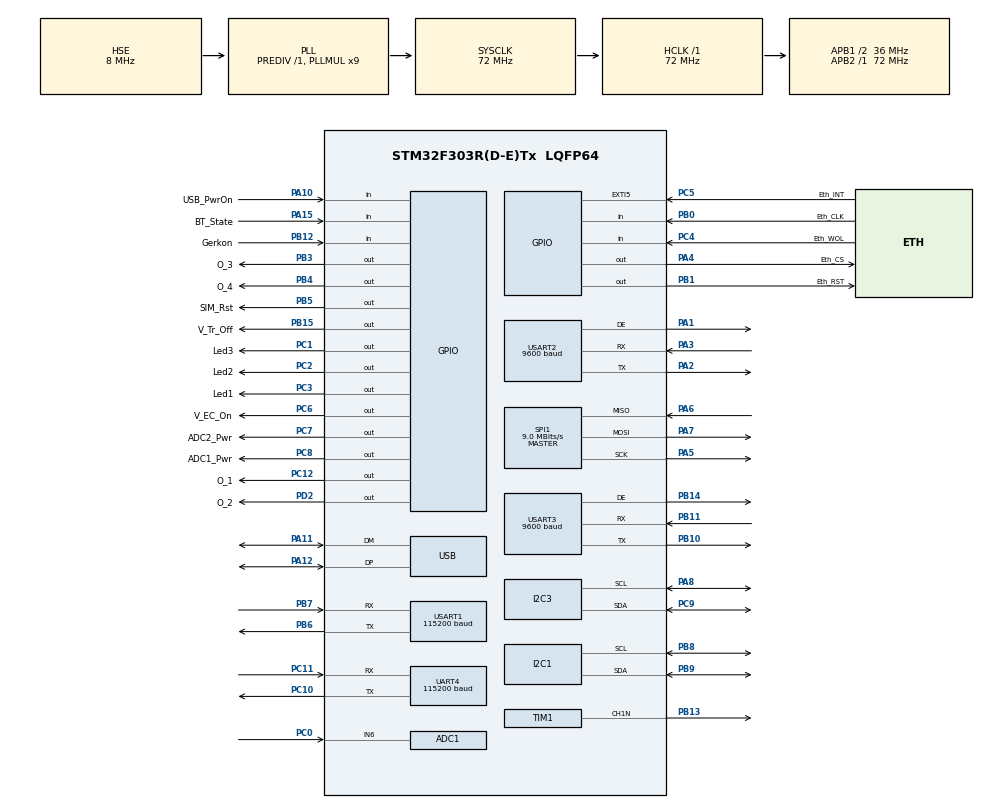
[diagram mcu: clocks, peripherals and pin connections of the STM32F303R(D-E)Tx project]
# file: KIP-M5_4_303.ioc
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ADC1.ContinuousConvMode=DISABLE
ADC1.EnableInjectedConversion=ENABLE
ADC1.EnableRegularConversion=DISABLE
ADC1.ExternalTrigInjecConv=ADC_INJECTED_SOFTWARE_START
ADC1.InjNumberOfConversion=2
ADC1.InjectedChannel-10\#ChannelInjectedConversion=ADC_CHANNEL_TEMPSENSOR
ADC1.InjectedChannel-9\#ChannelInjectedConversion=ADC_CHANNEL_6
ADC1.InjectedConvMode=None
ADC1.InjectedOffset-10\#ChannelInjectedConversion=0
ADC1.InjectedOffset-9\#ChannelInjectedConversion=0
ADC1.InjectedOffsetNumber-10\#ChannelInjectedConversion=ADC_OFFSET_NONE
ADC1.InjectedOffsetNumber-9\#ChannelInjectedConversion=ADC_OFFSET_NONE
ADC1.InjectedRank-10\#ChannelInjectedConversion=2
ADC1.InjectedRank-9\#ChannelInjectedConversion=1
ADC1.InjectedSamplingTime-10\#ChannelInjectedConversion=ADC_SAMPLETIME_19CYCLES_5
ADC1.InjectedSamplingTime-9\#ChannelInjectedConversion=ADC_SAMPLETIME_19CYCLES_5
ADC1.Overrun=ADC_OVR_DATA_OVERWRITTEN
ADC1.master=1
Dma.Request0=USART1_RX
Dma.Request1=USART1_TX
Dma.USART1_RX.0.Direction=DMA_PERIPH_TO_MEMORY
Dma.USART1_RX.0.Instance=DMA1_Channel5
Dma.USART1_RX.0.MemDataAlignment=DMA_MDATAALIGN_BYTE
Dma.USART1_RX.0.MemInc=DMA_MINC_ENABLE
Dma.USART1_RX.0.Mode=DMA_NORMAL
Dma.USART1_RX.0.PeriphDataAlignment=DMA_PDATAALIGN_BYTE
Dma.USART1_RX.0.PeriphInc=DMA_PINC_DISABLE
Dma.USART1_RX.0.Priority=DMA_PRIORITY_LOW
Dma.USART1_TX.1.Direction=DMA_MEMORY_TO_PERIPH
Dma.USART1_TX.1.Instance=DMA1_Channel4
Dma.USART1_TX.1.MemDataAlignment=DMA_MDATAALIGN_BYTE
Dma.USART1_TX.1.MemInc=DMA_MINC_ENABLE
Dma.USART1_TX.1.Mode=DMA_NORMAL
Dma.USART1_TX.1.PeriphDataAlignment=DMA_PDATAALIGN_BYTE
Dma.USART1_TX.1.PeriphInc=DMA_PINC_DISABLE
Dma.USART1_TX.1.Priority=DMA_PRIORITY_LOW
FREERTOS.HEAP_NUMBER=4
FREERTOS.INCLUDE_xQueueGetMutexHolder=1
FREERTOS.INCLUDE_xSemaphoreGetMutexHolder=1
FREERTOS.Mutexes01=rtos_mutex_FS,Dynamic,NULL
FREERTOS.Tasks01=Task_Def,0,1024,Start_Default,Default,NULL,Dynamic,NULL,NULL;Task_Led,-2,256,Start_Led,Default,NULL,Dynamic,NULL,NULL;Task_uIP,2,1024,Start_uIP,Default,NULL,Dynamic,NULL,NULL;Task_ADC,1,1024,Start_ADC,Default,NULL,Dynamic,NULL,NULL
FREERTOS.configGENERATE_RUN_TIME_STATS=1
FREERTOS.configMAX_CO_ROUTINE_PRIORITIES=7
FREERTOS.configMINIMAL_STACK_SIZE=256
FREERTOS.configQUEUE_REGISTRY_SIZE=16
FREERTOS.configRECORD_STACK_HIGH_ADDRESS=1
FREERTOS.configTOTAL_HEAP_SIZE=30000
FREERTOS.configUSE_CO_ROUTINES=1
FREERTOS.configUSE_RECURSIVE_MUTEXES=1
FREERTOS.configUSE_STATS_FORMATTING_FUNCTIONS=0
FREERTOS.configUSE_TIMERS=0
FREERTOS.configUSE_TRACE_FACILITY=0
I2C1.Timing=0x10808DD3
I2C3.Timing=0x10808DD3
IWDG.Prescaler=IWDG_PRESCALER_128
Mcu.Family=STM32F3
Mcu.Name=STM32F303R(D-E)Tx
Mcu.Package=LQFP64
NVIC.ADC1_2_IRQn=true\:13\:0\:true\:false\:true\:true\:true\:true
NVIC.DMA1_Channel4_IRQn=true\:5\:0\:false\:false\:true\:true\:false\:true
NVIC.DMA1_Channel5_IRQn=true\:5\:0\:false\:false\:true\:true\:false\:true
NVIC.EXTI9_5_IRQn=true\:12\:0\:true\:false\:true\:true\:true\:true
NVIC.PriorityGroup=NVIC_PRIORITYGROUP_4
NVIC.SPI1_IRQn=true\:10\:0\:true\:false\:true\:true\:true\:true
NVIC.TIM1_UP_TIM16_IRQn=true\:11\:0\:true\:false\:true\:true\:true\:true
NVIC.TIM2_IRQn=true\:8\:0\:true\:false\:true\:true\:true\:true
NVIC.TIM3_IRQn=true\:0\:0\:false\:false\:true\:false\:false\:true
NVIC.TIM4_IRQn=true\:9\:0\:true\:false\:true\:true\:true\:true
NVIC.TIM6_DAC_IRQn=true\:7\:0\:true\:false\:true\:true\:true\:true
NVIC.TimeBase=TIM3_IRQn
NVIC.TimeBaseIP=TIM3
NVIC.UART4_IRQn=true\:14\:0\:true\:false\:true\:true\:true\:true
NVIC.USART1_IRQn=true\:14\:0\:true\:false\:true\:true\:true\:true
NVIC.USART2_IRQn=true\:14\:0\:true\:false\:true\:true\:true\:true
NVIC.USART3_IRQn=true\:14\:0\:true\:false\:true\:true\:true\:true
NVIC.USB_HP_CAN_TX_IRQn=true\:5\:0\:false\:false\:true\:true\:true\:true
NVIC.USB_LP_CAN_RX0_IRQn=true\:5\:0\:false\:false\:true\:true\:false\:true
PA1.Mode=Hardware Flow Control (RS485)
PA1.Signal=USART2_DE
PA10.GPIO_Label=USB_PwrOn
PA10.Signal=GPIO_Input
PA11.Mode=Device
PA11.Signal=USB_DM
PA12.Mode=Device
PA12.Signal=USB_DP
PA13.Mode=Serial_Wire
PA13.Signal=SYS_JTMS-SWDIO
PA14.Mode=Serial_Wire
PA14.Signal=SYS_JTCK-SWCLK
PA15.GPIO_Label=BT_State
PA15.GPIO_PuPd=GPIO_PULLUP
PA15.Signal=GPIO_Input
PA2.Mode=Asynchronous
PA2.Signal=USART2_TX
PA3.Mode=Asynchronous
PA3.Signal=USART2_RX
PA4.GPIO_Label=Eth_CS
PA4.GPIO_ModeDefaultOutputPP=GPIO_MODE_OUTPUT_PP
PA4.GPIO_PuPd=GPIO_PULLUP
PA4.PinState=GPIO_PIN_SET
PA4.Signal=GPIO_Output
PA5.GPIO_PuPd=GPIO_PULLUP
PA5.Mode=Full_Duplex_Master
PA5.Signal=SPI1_SCK
PA6.GPIO_PuPd=GPIO_PULLUP
PA6.Mode=Full_Duplex_Master
PA6.Signal=SPI1_MISO
PA7.GPIO_PuPd=GPIO_PULLUP
PA7.Mode=Full_Duplex_Master
PA7.Signal=SPI1_MOSI
PA8.Mode=I2C
PA8.Signal=I2C3_SCL
PB0.GPIO_Label=Eth_CLK
PB0.Signal=GPIO_Input
PB1.GPIO_Label=Eth_RST
PB1.PinState=GPIO_PIN_SET
PB1.Signal=GPIO_Output
PB10.Mode=Asynchronous
PB10.Signal=USART3_TX
PB11.Mode=Asynchronous
PB11.Signal=USART3_RX
PB12.GPIO_Label=Gerkon
PB12.GPIO_PuPd=GPIO_PULLUP
PB12.Signal=GPIO_Input
PB13.Mode=PWM Generation1 CH1N
PB13.Signal=TIM1_CH1N
PB14.Mode=Hardware Flow Control (RS485)
PB14.Signal=USART3_DE
PB15.GPIO_Label=V_Tr_Off
PB15.PinState=GPIO_PIN_RESET
PB15.Signal=GPIO_Output
PB3.GPIO_Label=O_3
PB3.Signal=GPIO_Output
PB4.GPIO_Label=O_4
PB4.Signal=GPIO_Output
PB5.GPIO_Label=SIM_Rst
PB5.PinState=GPIO_PIN_SET
PB5.Signal=GPIO_Output
PB6.GPIO_ModeDefaultPP=GPIO_MODE_AF_PP
PB6.GPIO_PuPd=GPIO_NOPULL
PB6.GPIO_Speed=GPIO_SPEED_FREQ_LOW
PB6.Mode=Asynchronous
PB6.Signal=USART1_TX
PB7.GPIO_ModeDefaultPP=GPIO_MODE_AF_OD
PB7.GPIO_PuPd=GPIO_NOPULL
PB7.GPIO_Speed=GPIO_SPEED_FREQ_LOW
PB7.Mode=Asynchronous
PB7.Signal=USART1_RX
PB8.Mode=I2C
PB8.Signal=I2C1_SCL
PB9.Mode=I2C
PB9.Signal=I2C1_SDA
PC0.Signal=ADCx_IN6
PC1.GPIO_Label=Led3
PC1.PinState=GPIO_PIN_SET
PC1.Signal=GPIO_Output
PC10.Mode=Asynchronous
PC10.Signal=UART4_TX
PC11.Mode=Asynchronous
PC11.Signal=UART4_RX
PC12.GPIO_Label=O_1
PC12.Signal=GPIO_Output
PC2.GPIO_Label=Led2
PC2.PinState=GPIO_PIN_SET
PC2.Signal=GPIO_Output
PC3.GPIO_Label=Led1
PC3.PinState=GPIO_PIN_SET
PC3.Signal=GPIO_Output
PC4.GPIO_Label=Eth_WOL
PC4.GPIO_PuPd=GPIO_PULLUP
PC4.Signal=GPIO_Input
PC5.GPIO_Label=Eth_INT
PC5.GPIO_ModeDefaultEXTI=GPIO_MODE_IT_FALLING
PC5.GPIO_PuPd=GPIO_PULLUP
PC5.Signal=GPXTI5
PC6.GPIO_Label=V_EC_On
PC6.Signal=GPIO_Output
PC7.GPIO_Label=ADC2_Pwr
PC7.GPIO_PuPd=GPIO_PULLUP
PC7.PinState=GPIO_PIN_SET
PC7.Signal=GPIO_Output
PC8.GPIO_Label=ADC1_Pwr
PC8.GPIO_PuPd=GPIO_PULLUP
PC8.PinState=GPIO_PIN_SET
PC8.Signal=GPIO_Output
PC9.Mode=I2C
PC9.Signal=I2C3_SDA
PD2.GPIO_Label=O_2
PD2.Signal=GPIO_Output
PF0-OSC_IN.Mode=HSE-External-Oscillator
PF0-OSC_IN.Signal=RCC_OSC_IN
PF1-OSC_OUT.Mode=HSE-External-Oscillator
PF1-OSC_OUT.Signal=RCC_OSC_OUT
ProjectManager.HeapSize=0x800
ProjectManager.StackSize=0x2000
ProjectManager.TargetToolchain=SW4STM32
RCC.ADC12PRES=RCC_ADC12PLLCLK_DIV6
RCC.AHBFreq_Value=72000000
RCC.APB1CLKDivider=RCC_HCLK_DIV2
RCC.APB1Freq_Value=36000000
RCC.APB1TimFreq_Value=72000000
RCC.APB2Freq_Value=72000000
RCC.APB2TimFreq_Value=72000000
RCC.CortexFreq_Value=72000000
RCC.HCLKFreq_Value=72000000
RCC.HSE_VALUE=8000000
RCC.HSI_VALUE=8000000
RCC.I2c1ClockSelection=RCC_I2C1CLKSOURCE_SYSCLK
RCC.I2c3ClockSelection=RCC_I2C3CLKSOURCE_SYSCLK
RCC.LSE_VALUE=32768
RCC.PLLMUL=RCC_PLL_MUL9
RCC.PRESCALERUSB=RCC_USBCLKSOURCE_PLL_DIV1_5
RCC.SYSCLKFreq_VALUE=72000000
RCC.SYSCLKSourceVirtual=RCC_SYSCLKSOURCE_PLLCLK
RCC.USBFreq_Value=48000000
RCC.Uart4ClockSelection=RCC_UART4CLKSOURCE_SYSCLK
RCC.Usart2ClockSelection=RCC_USART2CLKSOURCE_SYSCLK
RCC.Usart3ClockSelection=RCC_USART3CLKSOURCE_SYSCLK
SH.ADCx_IN6.0=ADC1_IN6,IN6-Single-Ended
SPI1.BaudRatePrescaler=SPI_BAUDRATEPRESCALER_8
SPI1.CalculateBaudRate=9.0 MBits/s
SPI1.DataSize=SPI_DATASIZE_8BIT
SPI1.Direction=SPI_DIRECTION_2LINES
SPI1.Mode=SPI_MODE_MASTER
SPI1.NSSPMode=SPI_NSS_PULSE_ENABLE
SPI1.VirtualType=VM_MASTER
TIM1.Channel-PWM\ Generation1\ CH1N=TIM_CHANNEL_1
TIM2.AutoReloadPreload=TIM_AUTORELOAD_PRELOAD_ENABLE
TIM2.Period=5000
TIM2.Prescaler=7200
TIM2.TIM_MasterOutputTrigger=TIM_TRGO_UPDATE
TIM4.Period=1000
TIM4.Prescaler=72
TIM4.TIM_MasterOutputTrigger=TIM_TRGO_UPDATE
TIM6.Period=1562
TIM6.Prescaler=72-1
UART4.BaudRate=115200
USART1.BaudRate=115200
USART1.VirtualMode-Asynchronous=VM_ASYNC
USART2.BaudRate=9600
USART2.VirtualMode-Asynchronous=VM_ASYNC
USART2.VirtualMode-Hardware\ Flow\ Control\ (RS485)=VM_ASYNC
USART3.BaudRate=9600
USART3.VirtualMode-Asynchronous=VM_ASYNC
USART3.VirtualMode-Hardware\ Flow\ Control\ (RS485)=VM_ASYNC
USB.low_power_enable=DISABLE
USB.lpm_enable=DISABLE
USB_DEVICE.APP_RX_DATA_SIZE=512
USB_DEVICE.APP_TX_DATA_SIZE=512
USB_DEVICE.CLASS_NAME_FS=CDC
USB_DEVICE.USBD_DEBUG_LEVEL=0
USB_DEVICE.USBD_SELF_POWERED=1
USB_DEVICE.VirtualMode=Cdc
USB_DEVICE.VirtualModeFS=Cdc_FS
VP_ADC1_TempSens_Input.Mode=IN-TempSens
VP_CRC_VS_CRC.Mode=CRC_Activate
VP_FREERTOS_VS_CMSIS_V1.Mode=CMSIS_V1
VP_IWDG_VS_IWDG.Mode=IWDG_Activate
VP_RTC_VS_RTC_Activate.Mode=RTC_Enabled
VP_SYS_VS_tim3.Mode=TIM3
VP_TIM16_VS_ClockSourceINT.Mode=Enable_Timer
VP_TIM2_VS_ClockSourceINT.Mode=Internal
VP_TIM4_VS_ClockSourceINT.Mode=Internal
VP_TIM6_VS_ClockSourceINT.Mode=Enable_Timer
VP_USB_DEVICE_VS_USB_DEVICE_CDC_FS.Mode=CDC_FS
board=custom

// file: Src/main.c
/* USER CODE BEGIN Header */
/**
  ******************************************************************************
  * @file           : main.c
  * @brief          : Main program body
  ******************************************************************************
  * @attention
  *
  * <h2><center>&copy; Copyright (c) 2020 STMicroelectronics.
  * All rights reserved.</center></h2>
  *
  * This software component is licensed by ST under Ultimate Liberty license
  * SLA0044, the "License"; You may not use this file except in compliance with
  * the License. You may obtain a copy of the License at:
  *                             www.st.com/SLA0044
  *
  ******************************************************************************
  */
/* USER CODE END Header */

#include "main.h"
#include "cmsis_os.h"
#include "adc.h"
#include "crc.h"
#include "dma.h"
#include "i2c.h"
#include "iwdg.h"
#include "rtc.h"
#include "spi.h"
#include "tim.h"
#include "usart.h"
#include "usb_device.h"
#include "gpio.h"

/* USER CODE BEGIN Includes */

//#include "uip.h"
//#include "uip_arp.h"
//#include "enc28j60.h"

#include "ADS1115.h"

#include "config.h"
extern KIP_Data_TypeDef KIP_Data;

extern volatile	uint8_t delay_start;		// формирование паузы между замерами

static __IO uint32_t TimingDelay;

uint8_t	int_Eth = 0;

extern uint8_t delay_arp;

// Todo раскидать глобалки
//uint8_t pbuffer[32];
//uint8_t	count_i;

#include "Mercury.h"

extern void my_printf(UART_HandleTypeDef *huart_out, const char *fmt, ...);

extern void	Sim80x_RxCallBack(void);
//#include "Sim80x.h"

/* USER CODE END Includes */

void SystemClock_Config(void);
void MX_FREERTOS_Init(void);

int main(void)
{

  /* MCU Configuration--------------------------------------------------------*/

  /* Reset of all peripherals, Initializes the Flash interface and the Systick. */
  HAL_Init();

  /* Configure the system clock */
  SystemClock_Config();

  /* Initialize all configured peripherals */
  MX_GPIO_Init();
  MX_ADC1_Init();
  MX_I2C1_Init();
  MX_I2C3_Init();
  MX_SPI1_Init();
  MX_TIM1_Init();
  MX_TIM16_Init();
  MX_UART4_Init();
  MX_USART1_UART_Init();
  MX_USART2_UART_Init();
  MX_USART3_UART_Init();
  MX_TIM6_Init();
  MX_DMA_Init();
  MX_TIM2_Init();
  MX_CRC_Init();
  MX_RTC_Init();
  MX_TIM4_Init();
  MX_IWDG_Init();
  /* USER CODE BEGIN 2 */
  HAL_ADCEx_Calibration_Start(&hadc1, ADC_SINGLE_ENDED);

  HAL_GPIO_WritePin(Eth_RST_GPIO_Port, Eth_RST_Pin, GPIO_PIN_RESET);
  HAL_Delay(1);
  HAL_GPIO_WritePin(Eth_RST_GPIO_Port, Eth_RST_Pin, GPIO_PIN_SET);
  HAL_Delay(1);

  /* Формирование настроек КИП */
  KIP_Data.KIP_Setup.KIP_Version = 1;
  KIP_Data.KIP_Setup.KIP_Type = 2;
  KIP_Data.KIP_Setup.SKZ_Address_RS485 = 1;
  KIP_Data.KIP_Setup.KIP_Address_RS485 = 1;
  KIP_Data.KIP_Setup.Shunt_Val = 50;

	// установим адрес хоста (не используем dhcp) KIP_Data
	Ip_Addr_TypeDef Ip_Addr_1 =  ipaddr_device;		KIP_Data.KIP_Setup.ip_addr_KIP = Ip_Addr_1;
	Ip_Addr_TypeDef Ip_Addr_2 =  ipaddr_dest;		KIP_Data.KIP_Setup.ip_addr_dect = Ip_Addr_2;
	Ip_Addr_TypeDef Ip_Addr_3 =  ipaddr_mask;		KIP_Data.KIP_Setup.ip_addr_mask = Ip_Addr_3;

  KIP_Data.KIP_Setup.ip_port = 502;
//  KIP_Data.KIP_Setup.Modules_Config.Modules_Set = Set_modules;
	  KIP_Data.KIP_Setup.Modules_Config.Module_Set.m_ADC = 1;
	  KIP_Data.KIP_Setup.Modules_Config.Module_Set.m_Bluetooth = 1;
	  KIP_Data.KIP_Setup.Modules_Config.Module_Set.m_EEProm = 0;
	  KIP_Data.KIP_Setup.Modules_Config.Module_Set.m_Mercury = 1;
	  KIP_Data.KIP_Setup.Modules_Config.Module_Set.m_SIM = 1;
	  KIP_Data.KIP_Setup.Modules_Config.Module_Set.m_http = 1;
	  KIP_Data.KIP_Setup.Modules_Config.Module_Set.m_mbus_RTU = 0;
	  KIP_Data.KIP_Setup.Modules_Config.Module_Set.m_mbus_TCP = 1;
	  KIP_Data.KIP_Setup.Modules_Config.Module_Set.m_mbus_BU = 1;

  KIP_Data.Mercury_Data.Mercury_ID = 33736111;

  /* USER CODE END 2 */

  /* Call init function for freertos objects (in freertos.c) */
  MX_FREERTOS_Init();

  /* Start scheduler */
  osKernelStart();

  /* We should never get here as control is now taken by the scheduler */

  /* Infinite loop */
  while (1)
  {

  }
}

void SystemClock_Config(void)
{
  RCC_OscInitTypeDef RCC_OscInitStruct = {0};
  RCC_ClkInitTypeDef RCC_ClkInitStruct = {0};
  RCC_PeriphCLKInitTypeDef PeriphClkInit = {0};

  /** Initializes the CPU, AHB and APB busses clocks
  */
  RCC_OscInitStruct.OscillatorType = RCC_OSCILLATORTYPE_LSI|RCC_OSCILLATORTYPE_HSE;
  RCC_OscInitStruct.HSEState = RCC_HSE_ON;
  RCC_OscInitStruct.HSIState = RCC_HSI_ON;
  RCC_OscInitStruct.LSIState = RCC_LSI_ON;
  RCC_OscInitStruct.PLL.PLLState = RCC_PLL_ON;
  RCC_OscInitStruct.PLL.PLLSource = RCC_PLLSOURCE_HSE;
  RCC_OscInitStruct.PLL.PLLMUL = RCC_PLL_MUL9;
  RCC_OscInitStruct.PLL.PREDIV = RCC_PREDIV_DIV1;
  if (HAL_RCC_OscConfig(&RCC_OscInitStruct) != HAL_OK)
  {
    Error_Handler();
  }
  /** Initializes the CPU, AHB and APB busses clocks
  */
  RCC_ClkInitStruct.ClockType = RCC_CLOCKTYPE_HCLK|RCC_CLOCKTYPE_SYSCLK
                              |RCC_CLOCKTYPE_PCLK1|RCC_CLOCKTYPE_PCLK2;
  RCC_ClkInitStruct.SYSCLKSource = RCC_SYSCLKSOURCE_PLLCLK;
  RCC_ClkInitStruct.AHBCLKDivider = RCC_SYSCLK_DIV1;
  RCC_ClkInitStruct.APB1CLKDivider = RCC_HCLK_DIV2;
  RCC_ClkInitStruct.APB2CLKDivider = RCC_HCLK_DIV1;

  if (HAL_RCC_ClockConfig(&RCC_ClkInitStruct, FLASH_LATENCY_2) != HAL_OK)
  {
    Error_Handler();
  }
  PeriphClkInit.PeriphClockSelection = RCC_PERIPHCLK_USB|RCC_PERIPHCLK_USART1
                              |RCC_PERIPHCLK_USART2|RCC_PERIPHCLK_USART3
                              |RCC_PERIPHCLK_UART4|RCC_PERIPHCLK_I2C1
                              |RCC_PERIPHCLK_I2C3|RCC_PERIPHCLK_RTC
                              |RCC_PERIPHCLK_TIM1|RCC_PERIPHCLK_TIM16
                              |RCC_PERIPHCLK_ADC12|RCC_PERIPHCLK_TIM2
                              |RCC_PERIPHCLK_TIM34;
  PeriphClkInit.Usart1ClockSelection = RCC_USART1CLKSOURCE_PCLK2;
  PeriphClkInit.Usart2ClockSelection = RCC_USART2CLKSOURCE_SYSCLK;
  PeriphClkInit.Usart3ClockSelection = RCC_USART3CLKSOURCE_SYSCLK;
  PeriphClkInit.Uart4ClockSelection = RCC_UART4CLKSOURCE_SYSCLK;
  PeriphClkInit.Adc12ClockSelection = RCC_ADC12PLLCLK_DIV6;
  PeriphClkInit.I2c1ClockSelection = RCC_I2C1CLKSOURCE_SYSCLK;
  PeriphClkInit.I2c3ClockSelection = RCC_I2C3CLKSOURCE_SYSCLK;
  PeriphClkInit.RTCClockSelection = RCC_RTCCLKSOURCE_LSI;
  PeriphClkInit.USBClockSelection = RCC_USBCLKSOURCE_PLL_DIV1_5;
  PeriphClkInit.Tim1ClockSelection = RCC_TIM1CLK_HCLK;
  PeriphClkInit.Tim16ClockSelection = RCC_TIM16CLK_HCLK;
  PeriphClkInit.Tim2ClockSelection = RCC_TIM2CLK_HCLK;
  PeriphClkInit.Tim34ClockSelection = RCC_TIM34CLK_HCLK;
  if (HAL_RCCEx_PeriphCLKConfig(&PeriphClkInit) != HAL_OK)
  {
    Error_Handler();
  }
}

/* USER CODE BEGIN 4 */

void HAL_ADCEx_InjectedConvCpltCallback(ADC_HandleTypeDef* hadc)
{

#define tV_25   1.43f      // Напряжение (в вольтах) на датчике при температуре 25 °C.
#define tSlope  0.0043f    // Изменение напряжения (в вольтах) при изменении температуры на градус.
#define Vref    3.3f       // Образцовое напряжение АЦП (в вольтах).

//volatile uint16_t Power_V[2] = {0,0};	// 0 - значение АЦП при 0 В, 1 - амплитуда

	if(hadc->Instance == ADC1) //check if the interrupt comes from ACD1
	{
		if(KIP_Data.KIP_V_Power.ADC_Count > (sizeof(KIP_Data.KIP_V_Power.ADC_Val)/sizeof(uint16_t)))
		{
			KIP_Data.KIP_V_Power.ADC_Count = 0;
			HAL_TIM_Base_Stop_IT(&htim4);
		}

	KIP_Data.KIP_V_Power.ADC_Val[KIP_Data.KIP_V_Power.ADC_Count] = HAL_ADCEx_InjectedGetValue(&hadc1, ADC_INJECTED_RANK_1);

	float tV = (float)HAL_ADCEx_InjectedGetValue(&hadc1, ADC_INJECTED_RANK_2)/4096*Vref;		// Напряжение в вольтах на датчике
	KIP_Data.T_stm = ((tV_25 - tV)/tSlope) + 25;	// Температура в градусах.
	KIP_Data.KIP_V_Power.ADC_Count ++;
	}
}

void TimingDelay_Decrement(void)
{
  if (TimingDelay != 0x00)
  {
    TimingDelay--;
  }
}

void Delay(__IO uint32_t nTime)
{
  TimingDelay = nTime;

  while(TimingDelay != 0);
}

//extern void net_poll(void);
void HAL_GPIO_EXTI_Callback(uint16_t GPIO_Pin)
{
  if(GPIO_Pin== GPIO_PIN_5){
//	  HAL_Delay(10);
//	  __disable_irq ();
//    net_poll();
//    __enable_irq ();
////	HAL_GPIO_TogglePin(LD7_GPIO_Port, LD7_Pin);
//	  int_Eth = 1;
  } else{
    __NOP();
  }
}

void HAL_UART_TxCpltCallback(UART_HandleTypeDef *huart)
{
	if(huart->Instance == USART3)
	{
		if (Mercury_Buf_Tx[4] == Read_V_I_P)	HAL_UART_Receive_IT(&Mercury_uart, Mercury_Buf_Rx, 14);
		if (Mercury_Buf_Tx[4] == Read_P_sum)	HAL_UART_Receive_IT(&Mercury_uart, Mercury_Buf_Rx, 23);
	}

}

void HAL_UART_RxCpltCallback(UART_HandleTypeDef *huart)
{
	if(huart->Instance == USART3)
	{
		if (Mercury_Buf_Rx[4] == Read_V_I_P)	Mercury_Read(Read_V_I_P);
		if (Mercury_Buf_Rx[4] == Read_P_sum)	Mercury_Read(Read_P_sum);
	}
	if(huart->Instance == USART1)
	{
		Sim80x_RxCallBack();
	}
}

/* USER CODE END 4 */

void HAL_TIM_PeriodElapsedCallback(TIM_HandleTypeDef *htim)
{
  if (htim->Instance == TIM3) {
    HAL_IncTick();
  }
  /* USER CODE BEGIN Callback 1 */
  if(htim->Instance == TIM2) {
//	    __NOP();
	  delay_arp = 1;
  }

  // Задержки для АЦП
  if(htim->Instance == _htim_ADS.Instance)
  {
	delay_start = 0;
  }

  if (htim->Instance == TIM3) {
	  TimingDelay_Decrement();

  }
  if (htim->Instance == TIM4) {
	    HAL_ADCEx_InjectedStart_IT(&hadc1);
  }
  /* USER CODE END Callback 1 */
}

void Error_Handler(void)
{
}

/************************ (C) COPYRIGHT STMicroelectronics *****END OF FILE****/

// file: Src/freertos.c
/* USER CODE BEGIN Header */
/**
  ******************************************************************************
  * File Name          : freertos.c
  * Description        : Code for freertos applications
  ******************************************************************************
  * @attention
  *
  * <h2><center>&copy; Copyright (c) 2020 STMicroelectronics.
  * All rights reserved.</center></h2>
  *
  * This software component is licensed by ST under Ultimate Liberty license
  * SLA0044, the "License"; You may not use this file except in compliance with
  * the License. You may obtain a copy of the License at:
  *                             www.st.com/SLA0044
  *
  ******************************************************************************
  */
/* USER CODE END Header */

#include "FreeRTOS.h"
#include "task.h"
#include "main.h"
#include "cmsis_os.h"

/* USER CODE BEGIN Includes */

extern IWDG_HandleTypeDef hiwdg;

#include "adc.h"

#include "enc28j60.h"

#include "config.h"
KIP_Data_TypeDef KIP_Data;
//extern KIP_Data_TypeDef KIP_Data;

#include "usbd_cdc_if.h"

#include "mb.h"
#include "mbutils.h"

#include "uip.h"
#include "uip_arp.h"
#include "apps-conf.h"

#include "ADC_Izm.h"

#include "Mercury.h"
extern volatile uint8_t Mercury_Page;

#include <string.h>
#include <stdio.h>
#include <stdlib.h>
#include <stdarg.h>

#include "Sim80x.h"

/*----------------------------------------------------------------------------*/
/* USER CODE END Includes */

/* USER CODE BEGIN PTD */
/*----------------------------------------------------------------------------*/
//буфер, нужный для UIP
#define BUF ((struct uip_eth_hdr *)&uip_buf[0])
extern uint8_t	int_Eth;

/* USER CODE END PTD */

/* USER CODE BEGIN PM */

extern TIM_HandleTypeDef	htim2;
extern TIM_HandleTypeDef	htim4;

extern UART_HandleTypeDef	huart4;		// bluetooth
#define BT_uart				&huart4

/* USER CODE END PM */

/* USER CODE BEGIN Variables */

char FLT_buf[16];	// Буфер для преобразований плавающей точки
char * fl2str(float Value, uint8_t dec);

uint8_t delay_arp = 0;
uint8_t delay_arp_10sek = 0;

/* USER CODE END Variables */
osThreadId Task_DefHandle;
osThreadId Task_LedHandle;
osThreadId Task_uIPHandle;
osThreadId Task_ADCHandle;
osMutexId rtos_mutex_FSHandle;

void Start_Default(void const * argument);
void Start_Led(void const * argument);
void Start_uIP(void const * argument);
void Start_ADC(void const * argument);

extern void MX_USB_DEVICE_Init(void);
void MX_FREERTOS_Init(void); /* (MISRA C 2004 rule 8.1) */

/* GetIdleTaskMemory prototype (linked to static allocation support) */
void vApplicationGetIdleTaskMemory( StaticTask_t **ppxIdleTaskTCBBuffer, StackType_t **ppxIdleTaskStackBuffer, uint32_t *pulIdleTaskStackSize );

/* Hook prototypes */
void configureTimerForRunTimeStats(void);
unsigned long getRunTimeCounterValue(void);

/* USER CODE BEGIN 1 */
void vprint(UART_HandleTypeDef *huart_out, const char *fmt, va_list argp)
{
	char string[512];
	if(0 < vsprintf(string,fmt,argp)) // build string
	{
		HAL_UART_Transmit(huart_out, (uint8_t*)string, strlen(string), 0x10); 	// отправка сообщений в Bloutooth
	}
}
void my_printf(UART_HandleTypeDef *huart_out, const char *fmt, ...) // custom printf() function
{
	va_list argp;
	va_start(argp, fmt);
	vprint(huart_out, fmt, argp);
	va_end(argp);
}

#define bt_printf( xxx )	my_printf(BT_uart, xxx )

/* Functions needed when configGENERATE_RUN_TIME_STATS is on */
__weak void configureTimerForRunTimeStats(void)
{

}

__weak unsigned long getRunTimeCounterValue(void)
{
return 0;
}
/* USER CODE END 1 */

/* USER CODE BEGIN GET_IDLE_TASK_MEMORY */
static StaticTask_t xIdleTaskTCBBuffer;
static StackType_t xIdleStack[configMINIMAL_STACK_SIZE];

void vApplicationGetIdleTaskMemory( StaticTask_t **ppxIdleTaskTCBBuffer, StackType_t **ppxIdleTaskStackBuffer, uint32_t *pulIdleTaskStackSize )
{
  *ppxIdleTaskTCBBuffer = &xIdleTaskTCBBuffer;
  *ppxIdleTaskStackBuffer = &xIdleStack[0];
  *pulIdleTaskStackSize = configMINIMAL_STACK_SIZE;
  /* place for user code */
}
/* USER CODE END GET_IDLE_TASK_MEMORY */

void MX_FREERTOS_Init(void) {
  /* USER CODE BEGIN Init */

	// это будет наш МАС-адрес
	struct uip_eth_addr mac = MAC_ADDR;
	enc28j60_ini();

	// инициализация стека
	uip_init();
	uip_arp_init();

	// установим наш МАС
	uip_setethaddr(mac);

	uip_ipaddr_t ipaddr;
	uip_ipaddr(ipaddr, KIP_Data.KIP_Setup.ip_addr_KIP.addr[0], KIP_Data.KIP_Setup.ip_addr_KIP.addr[1],\
			KIP_Data.KIP_Setup.ip_addr_KIP.addr[2], KIP_Data.KIP_Setup.ip_addr_KIP.addr[3]);
	uip_sethostaddr(ipaddr);
	uip_ipaddr(ipaddr, KIP_Data.KIP_Setup.ip_addr_dect.addr[0], KIP_Data.KIP_Setup.ip_addr_dect.addr[1],\
			KIP_Data.KIP_Setup.ip_addr_dect.addr[2], KIP_Data.KIP_Setup.ip_addr_dect.addr[3]);
	uip_setdraddr(ipaddr);
	uip_ipaddr(ipaddr, KIP_Data.KIP_Setup.ip_addr_mask.addr[0], KIP_Data.KIP_Setup.ip_addr_mask.addr[1],\
			KIP_Data.KIP_Setup.ip_addr_mask.addr[2], KIP_Data.KIP_Setup.ip_addr_mask.addr[3]);
	uip_setnetmask(ipaddr);

	if(KIP_Data.KIP_Setup.Modules_Config.Module_Set.m_http == 1){
		httpd_init();
	}
	if(KIP_Data.KIP_Setup.Modules_Config.Module_Set.m_mbus_TCP == 1){
		eMBTCPInit(502);
	    eMBEnable();
	}
	if(KIP_Data.KIP_Setup.Modules_Config.Module_Set.m_mbus_RTU == 1){
		eMBInit( MB_RTU, 1, 2, 9600, MB_PAR_NONE );
	    eMBEnable();
	}

  /* USER CODE END Init */

  /* Create the mutex(es) */
  /* definition and creation of rtos_mutex_FS */
  osMutexDef(rtos_mutex_FS);
  rtos_mutex_FSHandle = osMutexCreate(osMutex(rtos_mutex_FS));

  /* Create the thread(s) */
  /* definition and creation of Task_Def */
  osThreadDef(Task_Def, Start_Default, osPriorityNormal, 0, 1024);
  Task_DefHandle = osThreadCreate(osThread(Task_Def), NULL);

  /* definition and creation of Task_Led */
  osThreadDef(Task_Led, Start_Led, osPriorityLow, 0, 256);
  Task_LedHandle = osThreadCreate(osThread(Task_Led), NULL);

  /* definition and creation of Task_uIP */
  osThreadDef(Task_uIP, Start_uIP, osPriorityHigh, 0, 1024);
  Task_uIPHandle = osThreadCreate(osThread(Task_uIP), NULL);

  /* definition and creation of Task_ADC */
  osThreadDef(Task_ADC, Start_ADC, osPriorityAboveNormal, 0, 1024);
  Task_ADCHandle = osThreadCreate(osThread(Task_ADC), NULL);

}

void Start_Default(void const * argument)
{
  /* init code for USB_DEVICE */
  MX_USB_DEVICE_Init();
  /* USER CODE BEGIN Start_Default */

  Sim80x_Init(osPriorityLow);
  osDelay(10000);

//  Gsm_MsgSendText("+79172061888","KIP-M5 SMS testing - Ok\r\n");	// Sasha
//  Gsm_MsgSendText("+79173105206","KIP-M5 SMS testing - Ok\r\n");	// Мой тел
//  Gsm_MsgSendText("+79093331223","KIP-M5 SMS testing - Ok\r\n");	// Мират
//  GPRS_SetAPN("internet.tele2.ru","","");
  osDelay(1000);

//  GPRS_StartUpGPRS();
//  osDelay(5000);
//  char IP[100];
//  GPRS_GetLocalIP(IP);

  char txt_out[512];
  volatile uint16_t Len_text = 0;

  /* Infinite loop */
  for(;;)
  {

	  Len_text = sprintf(txt_out,  "%c-------------- KIP-M5 --------------%c%c", 0x0C,0x0D,0x0A);
	  if(KIP_Data.KIP_Setup.Modules_Config.Module_Set.m_mbus_TCP){
		  Len_text += sprintf(txt_out, "%sРежим работы TCP       - %s\r\n", txt_out, "Modbus TCP");
	  }
	  if(KIP_Data.KIP_Setup.Modules_Config.Module_Set.m_http){
		  Len_text += sprintf(txt_out, "%sРежим работы TCP       - %s%d.%d.%d.%d\r\n", txt_out, "Web http://",\
				  KIP_Data.KIP_Setup.ip_addr_KIP.addr[0], KIP_Data.KIP_Setup.ip_addr_KIP.addr[1], \
				  KIP_Data.KIP_Setup.ip_addr_KIP.addr[2], KIP_Data.KIP_Setup.ip_addr_KIP.addr[3]);
	  }
	  Len_text += sprintf(txt_out, "%sАдрес КИП              - %d.%d.%d.%d\r\n", txt_out, \
			  KIP_Data.KIP_Setup.ip_addr_KIP.addr[0], KIP_Data.KIP_Setup.ip_addr_KIP.addr[1], \
			  KIP_Data.KIP_Setup.ip_addr_KIP.addr[2], KIP_Data.KIP_Setup.ip_addr_KIP.addr[3]);
	  Len_text += sprintf(txt_out, "%sАдрес шлюза            - %d.%d.%d.%d\r\n", txt_out, \
			  KIP_Data.KIP_Setup.ip_addr_dect.addr[0], KIP_Data.KIP_Setup.ip_addr_dect.addr[1], \
			  KIP_Data.KIP_Setup.ip_addr_dect.addr[2], KIP_Data.KIP_Setup.ip_addr_dect.addr[3]);
	  Len_text += sprintf(txt_out, "%sМаска сети             - %d.%d.%d.%d\r\n", txt_out, \
			  KIP_Data.KIP_Setup.ip_addr_mask.addr[0], KIP_Data.KIP_Setup.ip_addr_mask.addr[1], \
			  KIP_Data.KIP_Setup.ip_addr_mask.addr[2], KIP_Data.KIP_Setup.ip_addr_mask.addr[3]);
	  Len_text += sprintf(txt_out, "%sПорт Modbus TCP        - %d\r\n", txt_out, KIP_Data.KIP_Setup.ip_port);
//	  my_printf(BT_uart, (uint8_t*)txt_out); CDC_Transmit_FS((uint8_t*)txt_out, strlen(txt_out));
	  bt_printf((uint8_t*)txt_out); CDC_Transmit_FS((uint8_t*)txt_out, strlen(txt_out));

//		HAL_UART_Transmit(&huart1, (uint8_t*)txt_out, strlen(txt_out), 0x10); 	// отправка сообщений в gsm

	  Len_text = sprintf(txt_out,  "\r\n");
	  if(KIP_Data.KIP_Setup.Modules_Config.Module_Set.m_Bluetooth){
		  Len_text += sprintf(txt_out, "%sРежим работы Bluetooth - %s\r\n", txt_out, "терминал");
	  }
	  if(KIP_Data.KIP_Setup.Modules_Config.Module_Set.m_SIM){
		  Len_text += sprintf(txt_out, "%sРежим работы через GSM - %s\r\n", txt_out, "GPRS");
	  }

	  if(KIP_Data.KIP_Setup.Modules_Config.Module_Set.m_mbus_BU){
		  Len_text += sprintf(txt_out, "%sРежим работы RS485     - %s\r\n", txt_out, "Управление СКЗ");
		  Len_text += sprintf(txt_out, "%sАдрес СКЗ              - %d\r\n \r\n", txt_out, KIP_Data.KIP_Setup.SKZ_Address_RS485);
		  Len_text += sprintf(txt_out, "%sОпрос каналов СКЗ:\r\n \r\n", txt_out);
	  }
	  if(KIP_Data.KIP_Setup.Modules_Config.Module_Set.m_mbus_RTU){
		  Len_text += sprintf(txt_out, "%sРежим работы RS485  - %s\r\n", txt_out, "RTU (Внешнее управление)");
		  Len_text += sprintf(txt_out, "%sАдрес КИП           - %d\r\n\r\n", txt_out, KIP_Data.KIP_Setup.KIP_Address_RS485);
	  }
//	  my_printf(&BT_uart, (uint8_t*)txt_out); CDC_Transmit_FS((uint8_t*)txt_out, strlen(txt_out));
	  bt_printf((uint8_t*)txt_out); CDC_Transmit_FS((uint8_t*)txt_out, strlen(txt_out));

	  Len_text =  sprintf(txt_out,   "Опрос каналов КИП:\r\n");
	  Len_text += sprintf(txt_out, "%sВыходное напряжение СКЗ, В   = %s\r\n", txt_out, fl2str(KIP_Data.KIP_ADC.V_skz, 2));
	  Len_text += sprintf(txt_out, "%sВыходной ток СКЗ, А          = %s\r\n", txt_out, fl2str(KIP_Data.KIP_ADC.I_skz, 2));
	  Len_text += sprintf(txt_out, "%sЗащитный потенциал СОС, В    = %s\r\n", txt_out, fl2str(KIP_Data.KIP_ADC.V_sum, 2));
	  Len_text += sprintf(txt_out, "%sЗащитный потенциал БОС, В    = %s\r\n", txt_out, fl2str(KIP_Data.KIP_ADC.V_pol, 2));
	  Len_text += sprintf(txt_out, "%sТок поляризации, мА          = %s\r\n", txt_out, fl2str(KIP_Data.KIP_ADC.I_pol, 2));
	  Len_text += sprintf(txt_out, "%sНапряжение сети, В           = %s (%s) (%s)\r\n", txt_out, fl2str(KIP_Data.KIP_V_Power.V_power, 2), "Норма", "Отсутствует");
	  Len_text += sprintf(txt_out, "%sТемпература внутри КИП, °С   = %s\r\n", txt_out, fl2str(KIP_Data.T_stm,1));
	  Len_text += sprintf(txt_out, "%sНапряжение управления СКЗ, В = %s\r\n", txt_out, fl2str(KIP_Data.V_out,2));
	  Len_text += sprintf(txt_out, "%sДатчик вскрытия              - %s %s\r\n\r\n", txt_out, "Норма", "Вскрытие");
//	  my_printf(&BT_uart, (uint8_t*)txt_out); CDC_Transmit_FS((uint8_t*)txt_out, strlen(txt_out));
	  bt_printf((uint8_t*)txt_out); CDC_Transmit_FS((uint8_t*)txt_out, strlen(txt_out));
//
	  Len_text =  sprintf(txt_out,   "Опрос счетчика эл.энергии:\r\n");
	  if(KIP_Data.Mercury_Data.Mercury_Have == 1){
		  Len_text += sprintf(txt_out, "%sЗаводской номер счетчика     - %u\r\n", txt_out, KIP_Data.Mercury_Data.Mercury_ID);
		  Len_text += sprintf(txt_out, "%sНапряжение сети, В           = %s\r\n", txt_out, fl2str(KIP_Data.Mercury_Data.Mercury_V, 1));
		  Len_text += sprintf(txt_out, "%sМощность, Вт                 = %u\r\n", txt_out, KIP_Data.Mercury_Data.Mercury_P);
		  Len_text += sprintf(txt_out, "%sНакопленная мощность, Вт     = %u\r\n\r\n", txt_out, KIP_Data.Mercury_Data.Mercury_P_sum);
	  }
	  else{
		  Len_text += sprintf(txt_out, "%sЗаводской номер счетчика     - %u (Нет связи)\r\n\r\n", txt_out, KIP_Data.Mercury_Data.Mercury_ID);
	  }
//	  my_printf(&BT_uart, (uint8_t*)txt_out); CDC_Transmit_FS((uint8_t*)txt_out, strlen(txt_out));
	  bt_printf((uint8_t*)txt_out); CDC_Transmit_FS((uint8_t*)txt_out, strlen(txt_out));

	  osDelay(2500);
//	  Mercury_Write(Read_V_I_P);
  }
  /* USER CODE END Start_Default */
}

void Start_Led(void const * argument)
{
  /* USER CODE BEGIN Start_Led */
  /* Infinite loop */
  for(;;)
  {
	HAL_GPIO_TogglePin(Led1_GPIO_Port, Led1_Pin);
	osDelay(250);
  }
  /* USER CODE END Start_Led */
}

void Start_uIP(void const * argument)
{
  /* USER CODE BEGIN Start_uIP */

	HAL_TIM_Base_Start_IT(&htim2);			//
	for (;;)
	{
		uint16_t i = 0;

		  char txt_out_usb[512];
		HAL_GPIO_TogglePin(Led3_GPIO_Port, Led3_Pin);

		eMBPoll();

		uip_len = enc28j60_packetReceive((uint8_t *) uip_buf, UIP_BUFSIZE);

		if (uip_len > 0)
		{
			if (BUF->type == htons(UIP_ETHTYPE_IP))
			{
				// если пакет IP, то засылаем в стек
				uip_arp_ipin();
				uip_input();
				if (uip_len > 0)
				{
					// если есть что-то на выход, засылаем в сеть
					uip_arp_out();
					enc28j60_packetSend((uint8_t *) uip_buf, uip_len);
				}
			}
			else if (BUF->type == htons(UIP_ETHTYPE_ARP))
			{
				// если это касается ARP, то передаем в блок ARP
				uip_arp_arpin();
				if (uip_len > 0)
				{
					enc28j60_packetSend((uint8_t *) uip_buf, uip_len);
				}
			}
		}
		if(delay_arp)
		{
			HAL_GPIO_TogglePin(Led2_GPIO_Port, Led2_Pin);

			delay_arp = 0;
			HAL_TIM_Base_Start_IT(&htim2);			//
			//			osDelay(configTICK_RATE_HZ/2); 			// полсекунды

			for (uint32_t i = 0; i < UIP_CONNS; i++)
			{
				uip_periodic(i);
				if (uip_len > 0)
				{
					uip_arp_out();
					enc28j60_packetSend((uint8_t *)uip_buf, uip_len);
				}
			}

			#if UIP_UDP
			for(uint32_t i = 0; i < UIP_UDP_CONNS; i++)
			{
				uip_udp_periodic(i);
				if(uip_len > 0)
				{
					uip_arp_out();
					enc28j60_packetSend((uint8_t *)uip_buf, uip_len);
				}
			}
			#endif /* UIP_UDP */

			delay_arp_10sek++;
			if (delay_arp_10sek >= 20)
			{ // один раз за 20 проходов цикла, около 10 сек
				delay_arp_10sek = 0;
				uip_arp_timer();
			}
		}

		osDelay(5);

//	    vTaskDelay(100);
//     taskYIELD();
	}
  /* USER CODE END Start_uIP */
}

void Start_ADC(void const * argument)
{
  /* USER CODE BEGIN Start_ADC */
  Mercury_Page = 1;

  /* Infinite loop */
  for(;;)
  {
	HAL_IWDG_Refresh(&hiwdg);
	  if (Mercury_Page == 1) Mercury_Write(Read_V_I_P);		// Опрос счетчика электроэнергии
	  if (Mercury_Page == 2) Mercury_Write(Read_P_sum);		// Опрос счетчика электроэнергии
//	  Mercury_Busy++;

	  //HAL_TIM_Base_Start(&htim4);
		HAL_TIM_Base_Start_IT(&htim4);	// Запуск HAL_ADCEx_InjectedStart_IT(&hadc1);

		// Измерения каналов ADC1115
		adc_izm();

		// Измерение напряжения сети
		int32_t ADC_Val_sum = 0;
		for(uint16_t i = 0; i < sizeof(KIP_Data.KIP_V_Power.ADC_Val)/sizeof(uint16_t); i++)
		{
			int16_t sum_val = ((int32_t)KIP_Data.KIP_V_Power.ADC_Val[i]) - 2048;
				if (sum_val > 0)	ADC_Val_sum = ADC_Val_sum + sum_val;
				else				ADC_Val_sum = ADC_Val_sum - sum_val;
		}
		ADC_Val_sum = ADC_Val_sum / (sizeof(KIP_Data.KIP_V_Power.ADC_Val)/sizeof(uint16_t));
		KIP_Data.KIP_V_Power.V_power = (float)(ADC_Val_sum) * 0.230f;	// Коэффициент приведения к эффективному напряжению

		osDelay(1000);
  }
  /* USER CODE END Start_ADC */
}

/* USER CODE BEGIN Application */
//#if UIP_CONF_LOGGING == 1
//void uip_log(char *m)
//{
////    sendString(m);
//    printf("%s", m);
//    //TODO: Get debug information out here somehow, does anybody know a smart way to do that?
//}
//#endif

//-----------------------------------------------
char * fl2str(float Value, uint8_t dec)
{
	uint32_t dec_smesh = 1;
	for(uint8_t i = 0; i < dec; i++)
	{
		dec_smesh = dec_smesh * 10;
	}

	int32_t	dec_val = (int32_t)(Value * dec_smesh);
	switch(dec)
	{
		case 0:{
			sprintf(FLT_buf, "%d", dec_val);
			break;
		}
		case 1:{
			sprintf(FLT_buf, "%d.%01d", dec_val/10, abs(dec_val%10));
			break;
		}
		case 2:{
			sprintf(FLT_buf, "%d.%02d", dec_val/100, abs(dec_val%100));
			break;
		}
		case 3:{
			sprintf(FLT_buf, "%d.%03d", dec_val/1000, abs(dec_val%1000));
			break;
		}
		case 4:{
			sprintf(FLT_buf, "%d.%04d", dec_val/10000, abs(dec_val%10000));
			break;
		}
		case 5:{
			sprintf(FLT_buf, "%d.%05d", dec_val/100000, abs(dec_val%100000));
			break;
		}
		case 6:{
			sprintf(FLT_buf, "%d.%06d", dec_val/1000000, abs(dec_val%1000000));
			break;
		}
	}
return FLT_buf;
};

static volatile uint32_t lock_nesting_count = 0;
void __critical_enter(void)
{
    __disable_irq();
    ++lock_nesting_count;
}
void __critical_exit(void)
{
    /* Unlock interrupts only when we are exiting the outermost nested call. */
    --lock_nesting_count;

    if (lock_nesting_count == 0) {
        __enable_irq();
    }
}

/* USER CODE END Application */

/************************ (C) COPYRIGHT STMicroelectronics *****END OF FILE****/
